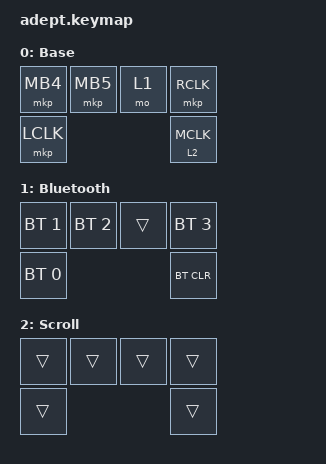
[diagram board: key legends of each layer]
#include <input/processors.dtsi>
#include <behaviors.dtsi>
#include <dt-bindings/zmk/bt.h>
#include <dt-bindings/zmk/pointing.h>
#include <dt-bindings/zmk/input_transform.h>

&trackball_listener {
    vertical_scroller {
        layers = <2>;
        input-processors = <&zip_xy_transform INPUT_TRANSFORM_Y_INVERT>,
                           <&zip_x_scaler 0 1>,
                           <&zip_y_scaler 1 2>,
                           <&zip_xy_to_scroll_mapper>;
    };
    scroller {
        layers = <1>;
        input-processors = <&zip_xy_transform INPUT_TRANSFORM_Y_INVERT>,
                           <&zip_xy_scaler 1 2>,
                           <&zip_xy_to_scroll_mapper>;
    };
};

/ {
    combos {
        compatible = "zmk,combos";

        adept_bl {
            timeout-ms = <50>;
            key-positions = <0 3>;
            bindings = <&bootloader>;
            layers = <0>;
        };
    };

    behaviors {
        mlt: mlt {
            compatible = "zmk,behavior-hold-tap";
            display-name = "Layer-Mouse tap";
            bindings = <&mo>, <&mkp>;

            #binding-cells = <2>;
            tapping-term-ms = <200>;
            flavor = "hold-preferred";
        };
        mlte: mlte {
            compatible = "zmk,behavior-hold-tap";
            display-name = "Layer-Mouse tap (eager)";
            bindings = <&mo>, <&mkp>;

            #binding-cells = <2>;
            tapping-term-ms = <200>;
            flavor = "tap-preferred";
            hold-while-undecided;
        };
    };

    keymap {
        compatible = "zmk,keymap";

        base_layer {
            display-name = "Base";
            bindings = <
&mkp MB4  &mkp MB5 &mo 1 &mkp RCLK
&mkp LCLK                &mlte 2 MCLK
            >;
        };

        bluetooth_layer {
            display-name = "Bluetooth";
            bindings = <
&bt BT_SEL 1 &bt BT_SEL 2 &trans &bt BT_SEL 3
&bt BT_SEL 0                     &bt BT_CLR
            >;
        };

        scroll_layer {
            display-name = "Scroll";
            bindings = <
&trans &trans &trans &trans
&trans               &trans
            >;
        };
    };
};
